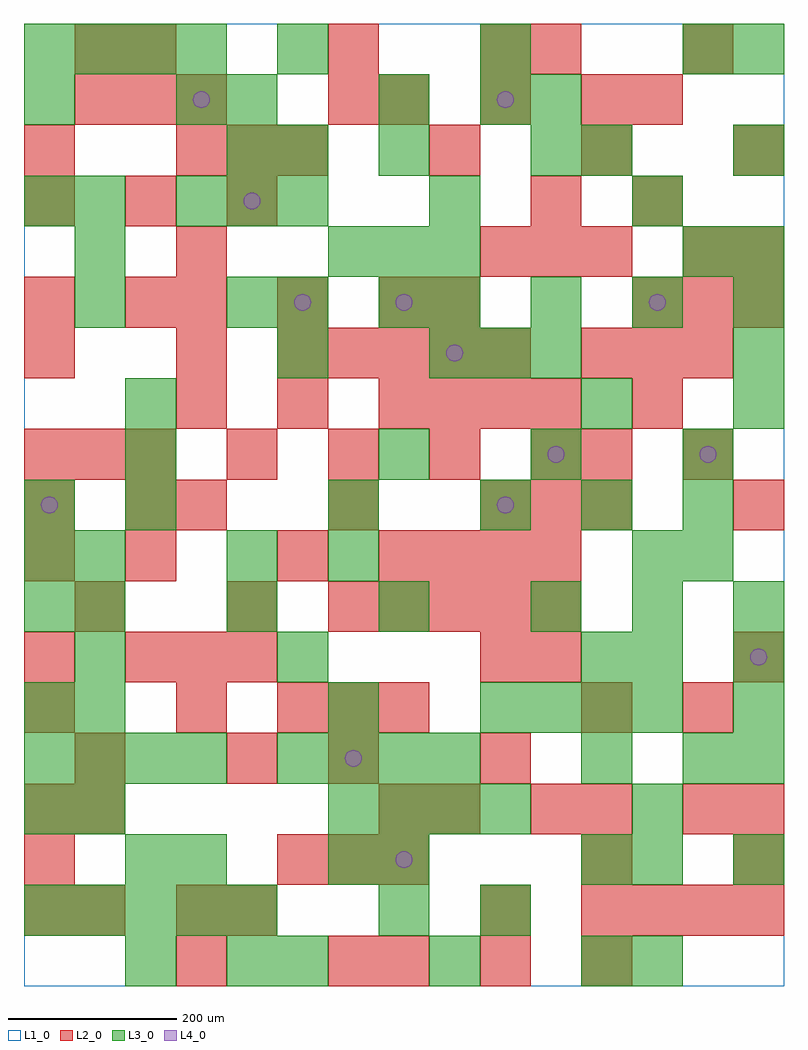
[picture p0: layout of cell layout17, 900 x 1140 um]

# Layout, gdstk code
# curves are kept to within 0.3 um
import gdstk
lib = gdstk.Library(unit=1e-6, precision=1e-09)
def R(c, l, rs):  # rectangles x0, y0, x1, y1
    for r in rs: c.add(gdstk.rectangle(r[:2], r[2:], *l))
def A(c, l, x, y, w, h, nx, ny, dx, dy):  # array of equal rectangles
    R(c, l, [(x+i*dx, y+j*dy, x+i*dx+w, y+j*dy+h) for i in range(nx) for j in range(ny)])
def P(c, l, *ps):  # polygons
    for p in ps: c.add(gdstk.Polygon(p, *l))
L1_0 = (1, 0)
L2_0 = (2, 0)
L3_0 = (3, 0)
L4_0 = (4, 0)

layout17 = lib.new_cell('layout17')
R(layout17, L1_0, [(0,0,900,1140)])
A(layout17, L2_0, 420, 0, 60, 60, 3, 2, 120, 1020)
A(layout17, L2_0, 0, 60, 60, 60, 1, 3, 0, 60)
A(layout17, L2_0, 240, 60, 60, 60, 1, 3, 0, 180)
A(layout17, L2_0, 660, 60, 60, 60, 4, 1, 60, 0)
A(layout17, L2_0, 300, 120, 60, 60, 3, 2, 60, 180)
A(layout17, L2_0, 600, 180, 60, 60, 1, 3, 0, 180)
A(layout17, L2_0, 840, 180, 60, 60, 1, 3, 0, 180)
A(layout17, L2_0, 120, 360, 60, 60, 3, 1, 60, 0)
A(layout17, L2_0, 360, 420, 60, 60, 5, 1, 60, 0)
A(layout17, L2_0, 420, 480, 60, 60, 4, 1, 60, 0)
A(layout17, L2_0, 180, 540, 60, 60, 3, 1, 180, 0)
A(layout17, L2_0, 0, 600, 60, 60, 3, 1, 60, 0)
A(layout17, L2_0, 240, 600, 60, 60, 4, 1, 120, 0)
A(layout17, L2_0, 780, 600, 60, 60, 1, 3, 0, 240)
A(layout17, L2_0, 180, 660, 60, 60, 3, 2, 120, 120)
A(layout17, L2_0, 480, 660, 60, 60, 3, 1, 60, 0)
A(layout17, L2_0, 300, 720, 60, 60, 5, 1, 60, 0)
A(layout17, L2_0, 660, 720, 60, 60, 3, 1, 60, 0)
A(layout17, L2_0, 720, 780, 60, 60, 3, 1, 60, 0)
A(layout17, L2_0, 540, 840, 60, 60, 3, 1, 60, 0)
A(layout17, L2_0, 0, 900, 60, 60, 3, 1, 120, 0)
A(layout17, L2_0, 180, 960, 60, 60, 3, 1, 60, 0)
A(layout17, L2_0, 480, 960, 60, 60, 3, 1, 180, 0)
A(layout17, L2_0, 60, 1020, 60, 60, 3, 1, 60, 0)
R(layout17, L2_0, [(180,0,240,60), (360,0,420,60), (60,60,120,120), (180,60,240,120), (540,60,600,120), (660,120,720,180), (840,120,900,180), (60,180,120,240), (420,180,480,240), (480,180,540,240), (660,180,720,240), (780,180,840,240), (60,240,120,300), (360,240,420,300), (540,240,600,300), (0,300,60,360), (180,300,240,360), (660,300,720,360), (780,300,840,360), (0,360,60,420), (540,360,600,420), (60,420,120,480), (0,480,60,540), (120,480,180,540), (300,480,360,540), (0,540,60,600), (120,540,180,600), (660,540,720,600), (660,600,720,660), (720,660,780,720), (0,720,60,780), (180,720,240,780), (0,780,60,840), (120,780,180,840), (480,780,540,840), (180,840,240,900), (840,840,900,900), (600,900,660,960), (720,900,780,960), (0,960,60,1020), (360,1020,420,1080), (720,1020,780,1080), (60,1080,120,1140), (120,1080,180,1140), (360,1080,420,1140), (540,1080,600,1140), (600,1080,660,1140)])
A(layout17, L3_0, 300, 0, 60, 60, 3, 1, 180, 0)
A(layout17, L3_0, 0, 60, 60, 60, 5, 1, 60, 0)
A(layout17, L3_0, 360, 120, 60, 60, 1, 3, 0, 180)
A(layout17, L3_0, 660, 120, 60, 60, 1, 3, 0, 120)
A(layout17, L3_0, 0, 180, 60, 60, 1, 3, 0, 120)
A(layout17, L3_0, 360, 180, 60, 60, 4, 1, 60, 0)
A(layout17, L3_0, 0, 240, 60, 60, 4, 2, 60, 840)
A(layout17, L3_0, 300, 240, 60, 60, 4, 1, 60, 0)
A(layout17, L3_0, 840, 240, 60, 60, 1, 4, 0, 60)
A(layout17, L3_0, 540, 300, 60, 60, 4, 1, 60, 0)
A(layout17, L3_0, 720, 360, 60, 60, 1, 3, 0, 60)
A(layout17, L3_0, 60, 420, 60, 60, 4, 1, 180, 0)
A(layout17, L3_0, 120, 540, 60, 60, 1, 3, 0, 60)
A(layout17, L3_0, 540, 540, 60, 60, 3, 1, 120, 0)
A(layout17, L3_0, 420, 600, 60, 60, 3, 1, 180, 0)
A(layout17, L3_0, 480, 720, 60, 60, 3, 1, 60, 0)
A(layout17, L3_0, 840, 720, 60, 60, 1, 4, 0, 120)
A(layout17, L3_0, 60, 780, 60, 60, 1, 3, 0, 60)
A(layout17, L3_0, 480, 780, 60, 60, 4, 1, 120, 0)
A(layout17, L3_0, 360, 840, 60, 60, 3, 1, 60, 0)
A(layout17, L3_0, 180, 900, 60, 60, 3, 1, 60, 0)
A(layout17, L3_0, 300, 1080, 60, 60, 3, 1, 240, 0)
R(layout17, L3_0, [(120,0,180,60), (240,0,300,60), (720,0,780,60), (420,60,480,120), (540,60,600,120), (120,120,180,180), (180,120,240,180), (420,120,480,180), (720,120,780,180), (840,120,900,180), (60,180,120,240), (720,180,780,240), (780,240,840,300), (60,300,120,360), (60,360,120,420), (300,360,360,420), (0,480,60,540), (60,480,120,540), (240,480,300,540), (780,480,840,540), (0,540,60,600), (360,540,420,600), (660,660,720,720), (840,660,900,720), (300,720,360,780), (240,780,300,840), (300,780,360,840), (420,780,480,840), (780,840,840,900), (0,900,60,960), (480,900,540,960), (720,900,780,960), (240,960,300,1020), (300,960,360,1020), (420,960,480,1020), (600,960,660,1020), (660,960,720,1020), (0,1020,60,1080), (180,1020,240,1080), (240,1020,300,1080), (420,1020,480,1080), (540,1020,600,1080), (600,1020,660,1080)])
P(layout17, L4_0, [(40,570),(39.239,573.827),(37.071,577.071),(33.827,579.239),(30,580),(26.173,579.239),(22.929,577.071),(20.761,573.827),(20,570),(20.761,566.173),(22.929,562.929),(26.173,560.761),(30,560),(33.827,560.761),(37.071,562.929),(39.239,566.173)],
  [(220,1050),(219.239,1053.827),(217.071,1057.071),(213.827,1059.239),(210,1060),(206.173,1059.239),(202.929,1057.071),(200.761,1053.827),(200,1050),(200.761,1046.173),(202.929,1042.929),(206.173,1040.761),(210,1040),(213.827,1040.761),(217.071,1042.929),(219.239,1046.173)],
  [(280,930),(279.239,933.827),(277.071,937.071),(273.827,939.239),(270,940),(266.173,939.239),(262.929,937.071),(260.761,933.827),(260,930),(260.761,926.173),(262.929,922.929),(266.173,920.761),(270,920),(273.827,920.761),(277.071,922.929),(279.239,926.173)],
  [(340,810),(339.239,813.827),(337.071,817.071),(333.827,819.239),(330,820),(326.173,819.239),(322.929,817.071),(320.761,813.827),(320,810),(320.761,806.173),(322.929,802.929),(326.173,800.761),(330,800),(333.827,800.761),(337.071,802.929),(339.239,806.173)],
  [(400,270),(399.239,273.827),(397.071,277.071),(393.827,279.239),(390,280),(386.173,279.239),(382.929,277.071),(380.761,273.827),(380,270),(380.761,266.173),(382.929,262.929),(386.173,260.761),(390,260),(393.827,260.761),(397.071,262.929),(399.239,266.173)],
  [(460,150),(459.239,153.827),(457.071,157.071),(453.827,159.239),(450,160),(446.173,159.239),(442.929,157.071),(440.761,153.827),(440,150),(440.761,146.173),(442.929,142.929),(446.173,140.761),(450,140),(453.827,140.761),(457.071,142.929),(459.239,146.173)],
  [(460,810),(459.239,813.827),(457.071,817.071),(453.827,819.239),(450,820),(446.173,819.239),(442.929,817.071),(440.761,813.827),(440,810),(440.761,806.173),(442.929,802.929),(446.173,800.761),(450,800),(453.827,800.761),(457.071,802.929),(459.239,806.173)],
  [(520,750),(519.239,753.827),(517.071,757.071),(513.827,759.239),(510,760),(506.173,759.239),(502.929,757.071),(500.761,753.827),(500,750),(500.761,746.173),(502.929,742.929),(506.173,740.761),(510,740),(513.827,740.761),(517.071,742.929),(519.239,746.173)],
  [(580,570),(579.239,573.827),(577.071,577.071),(573.827,579.239),(570,580),(566.173,579.239),(562.929,577.071),(560.761,573.827),(560,570),(560.761,566.173),(562.929,562.929),(566.173,560.761),(570,560),(573.827,560.761),(577.071,562.929),(579.239,566.173)],
  [(580,1050),(579.239,1053.827),(577.071,1057.071),(573.827,1059.239),(570,1060),(566.173,1059.239),(562.929,1057.071),(560.761,1053.827),(560,1050),(560.761,1046.173),(562.929,1042.929),(566.173,1040.761),(570,1040),(573.827,1040.761),(577.071,1042.929),(579.239,1046.173)],
  [(640,630),(639.239,633.827),(637.071,637.071),(633.827,639.239),(630,640),(626.173,639.239),(622.929,637.071),(620.761,633.827),(620,630),(620.761,626.173),(622.929,622.929),(626.173,620.761),(630,620),(633.827,620.761),(637.071,622.929),(639.239,626.173)],
  [(760,810),(759.239,813.827),(757.071,817.071),(753.827,819.239),(750,820),(746.173,819.239),(742.929,817.071),(740.761,813.827),(740,810),(740.761,806.173),(742.929,802.929),(746.173,800.761),(750,800),(753.827,800.761),(757.071,802.929),(759.239,806.173)],
  [(820,630),(819.239,633.827),(817.071,637.071),(813.827,639.239),(810,640),(806.173,639.239),(802.929,637.071),(800.761,633.827),(800,630),(800.761,626.173),(802.929,622.929),(806.173,620.761),(810,620),(813.827,620.761),(817.071,622.929),(819.239,626.173)],
  [(880,390),(879.239,393.827),(877.071,397.071),(873.827,399.239),(870,400),(866.173,399.239),(862.929,397.071),(860.761,393.827),(860,390),(860.761,386.173),(862.929,382.929),(866.173,380.761),(870,380),(873.827,380.761),(877.071,382.929),(879.239,386.173)])

lib.write_gds('layout17.gds')
